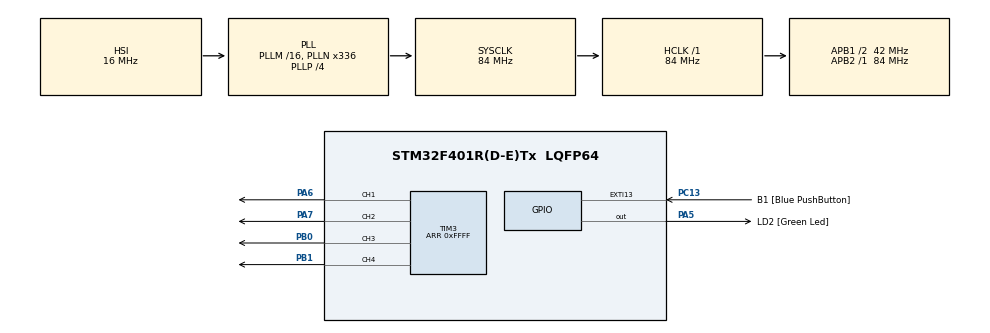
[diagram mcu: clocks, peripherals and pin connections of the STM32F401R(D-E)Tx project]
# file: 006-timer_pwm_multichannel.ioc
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Mcu.Family=STM32F4
Mcu.Name=STM32F401R(D-E)Tx
Mcu.Package=LQFP64
NVIC.PriorityGroup=NVIC_PRIORITYGROUP_0
NVIC.TIM3_IRQn=true\:0\:0\:false\:false\:true\:true\:true
PA13.GPIO_Label=TMS
PA13.Mode=Serial_Wire
PA13.Signal=SYS_JTMS-SWDIO
PA14.GPIO_Label=TCK
PA14.Mode=Serial_Wire
PA14.Signal=SYS_JTCK-SWCLK
PA2.GPIO_Label=USART_TX
PA2.GPIO_Mode=GPIO_MODE_AF_PP
PA2.GPIO_PuPd=GPIO_NOPULL
PA2.GPIO_Speed=GPIO_SPEED_FREQ_LOW
PA2.Signal=USART2_TX
PA3.GPIO_Label=USART_RX
PA3.GPIO_Mode=GPIO_MODE_AF_PP
PA3.GPIO_PuPd=GPIO_NOPULL
PA3.GPIO_Speed=GPIO_SPEED_FREQ_LOW
PA3.Signal=USART2_RX
PA5.GPIO_Label=LD2 [Green Led]
PA5.GPIO_Mode=GPIO_MODE_OUTPUT_PP
PA5.GPIO_PuPd=GPIO_NOPULL
PA5.GPIO_Speed=GPIO_SPEED_FREQ_LOW
PA5.Signal=GPIO_Output
PA6.Signal=S_TIM3_CH1
PA7.Signal=S_TIM3_CH2
PB0.Signal=S_TIM3_CH3
PB1.Signal=S_TIM3_CH4
PB3.GPIO_Label=SWO
PB3.Signal=SYS_JTDO-SWO
PC13-ANTI_TAMP.GPIO_Label=B1 [Blue PushButton]
PC13-ANTI_TAMP.GPIO_ModeDefaultEXTI=GPIO_MODE_IT_FALLING
PC13-ANTI_TAMP.GPIO_PuPd=GPIO_NOPULL
PC13-ANTI_TAMP.Signal=GPXTI13
PC14-OSC32_IN.Signal=RCC_OSC32_IN
PC15-OSC32_OUT.Signal=RCC_OSC32_OUT
PH0\ -\ OSC_IN.Mode=HSE-External-Clock-Source
PH0\ -\ OSC_IN.Signal=RCC_OSC_IN
PH1\ -\ OSC_OUT.Mode=HSE-External-Clock-Source
PH1\ -\ OSC_OUT.Signal=RCC_OSC_OUT
ProjectManager.HeapSize=0x200
ProjectManager.StackSize=0x400
ProjectManager.TargetToolchain=STM32CubeIDE
RCC.AHBFreq_Value=84000000
RCC.APB1CLKDivider=RCC_HCLK_DIV2
RCC.APB1Freq_Value=42000000
RCC.APB1TimFreq_Value=84000000
RCC.APB2Freq_Value=84000000
RCC.APB2TimFreq_Value=84000000
RCC.CortexFreq_Value=84000000
RCC.HCLKFreq_Value=84000000
RCC.HSE_VALUE=8000000
RCC.HSI_VALUE=16000000
RCC.LSE_VALUE=32768
RCC.PLLN=336
RCC.PLLP=RCC_PLLP_DIV4
RCC.PLLQ=7
RCC.SYSCLKFreq_VALUE=84000000
RCC.SYSCLKSource=RCC_SYSCLKSOURCE_PLLCLK
RCC.VCOOutputFreq_Value=336000000
SH.S_TIM3_CH1.0=TIM3_CH1,Output Compare1 CH1
SH.S_TIM3_CH2.0=TIM3_CH2,Output Compare2 CH2
SH.S_TIM3_CH3.0=TIM3_CH3,Output Compare3 CH3
SH.S_TIM3_CH4.0=TIM3_CH4,Output Compare4 CH4
TIM3.Channel-Output\ Compare1\ CH1=TIM_CHANNEL_1
TIM3.Channel-Output\ Compare2\ CH2=TIM_CHANNEL_2
TIM3.Channel-Output\ Compare3\ CH3=TIM_CHANNEL_3
TIM3.Channel-Output\ Compare4\ CH4=TIM_CHANNEL_4
TIM3.OC1Preload=DISABLE
TIM3.OC2Preload=DISABLE
TIM3.OC3Preload=DISABLE
TIM3.OC4Preload=DISABLE
TIM3.OCMode_1=TIM_OCMODE_TOGGLE
TIM3.OCMode_2=TIM_OCMODE_TOGGLE
TIM3.OCMode_3=TIM_OCMODE_TOGGLE
TIM3.OCMode_4=TIM_OCMODE_TOGGLE
TIM3.Period=0xFFFF
TIM3.Pulse-Output\ Compare1\ CH1=0xBFFF
TIM3.Pulse-Output\ Compare2\ CH2=0x8CCC
TIM3.Pulse-Output\ Compare3\ CH3=0x3FFF
TIM3.Pulse-Output\ Compare4\ CH4=0xE665
board=NUCLEO-F401RE

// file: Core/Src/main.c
/* USER CODE BEGIN Header */
/**
 ******************************************************************************
 * @file           : main.c
 * @brief          : Main program body
 ******************************************************************************
 * @attention
 *
 * <h2><center>&copy; Copyright (c) 2020 STMicroelectronics.
 * All rights reserved.</center></h2>
 *
 * This software component is licensed by ST under BSD 3-Clause license,
 * the "License"; You may not use this file except in compliance with the
 * License. You may obtain a copy of the License at:
 *                        opensource.org/licenses/BSD-3-Clause
 *
 ******************************************************************************
 */
/* USER CODE END Header */

#include "main.h"

/* USER CODE BEGIN PD */
#define CCR1_VAL 0xBFFF
#define CCR2_VAL 0x8CCC
#define CCR3_VAL 0x3FFF
#define CCR4_VAL 0x1999
#define ARR_VAL 0xFFFF

/* USER CODE END PD */

TIM_HandleTypeDef htim3;

/* USER CODE BEGIN PV */

volatile uint16_t CCR[4] = {CCR1_VAL, CCR2_VAL, CCR3_VAL, CCR4_VAL};

/* USER CODE END PV */

void SystemClock_Config(void);
static void MX_GPIO_Init(void);
static void MX_TIM3_Init(void);

int main(void)
{

  /* MCU Configuration--------------------------------------------------------*/

  /* Reset of all peripherals, Initializes the Flash interface and the Systick. */
  HAL_Init();

  /* Configure the system clock */
  SystemClock_Config();

  /* Initialize all configured peripherals */
  MX_GPIO_Init();
  MX_TIM3_Init();
  /* USER CODE BEGIN 2 */

	HAL_TIM_OC_Start_IT(&htim3, TIM_CHANNEL_1);
	HAL_TIM_OC_Start_IT(&htim3, TIM_CHANNEL_2);
	HAL_TIM_OC_Start_IT(&htim3, TIM_CHANNEL_3);
	HAL_TIM_OC_Start_IT(&htim3, TIM_CHANNEL_4);

	uint32_t filtro_btn = 0;
	uint8_t status_prog = 0;

  /* USER CODE END 2 */

  /* Infinite loop */
	while (1) {
		if(!HAL_GPIO_ReadPin(B1_GPIO_Port, B1_Pin) && (HAL_GetTick() - filtro_btn) >= 200){
			filtro_btn = HAL_GetTick();
			status_prog++;
			if(status_prog == 4) status_prog = 0;
		}

		switch(status_prog){
		case 0:
			// Duty Cycle Originais
			CCR[0] = CCR1_VAL;
			CCR[1] = CCR2_VAL;
			CCR[2] = CCR3_VAL;
			CCR[3] = CCR4_VAL;
			break;
		case 1:
			// Shift nos Dutys
			CCR[0] = CCR4_VAL;
			CCR[1] = CCR1_VAL;
			CCR[2] = CCR2_VAL;
			CCR[3] = CCR3_VAL;
			break;

		case 2:
			CCR[0] = CCR3_VAL;
			CCR[1] = CCR4_VAL;
			CCR[2] = CCR1_VAL;
			CCR[3] = CCR2_VAL;
			break;

		case 3:
			CCR[0] = CCR2_VAL;
			CCR[1] = CCR3_VAL;
			CCR[2] = CCR4_VAL;
			CCR[3] = CCR1_VAL;
			break;
		default:
			break;
		}

	}
}

void SystemClock_Config(void)
{
  RCC_OscInitTypeDef RCC_OscInitStruct = {0};
  RCC_ClkInitTypeDef RCC_ClkInitStruct = {0};

  /** Configure the main internal regulator output voltage
  */
  __HAL_RCC_PWR_CLK_ENABLE();
  __HAL_PWR_VOLTAGESCALING_CONFIG(PWR_REGULATOR_VOLTAGE_SCALE2);
  /** Initializes the CPU, AHB and APB busses clocks
  */
  RCC_OscInitStruct.OscillatorType = RCC_OSCILLATORTYPE_HSI;
  RCC_OscInitStruct.HSIState = RCC_HSI_ON;
  RCC_OscInitStruct.HSICalibrationValue = RCC_HSICALIBRATION_DEFAULT;
  RCC_OscInitStruct.PLL.PLLState = RCC_PLL_ON;
  RCC_OscInitStruct.PLL.PLLSource = RCC_PLLSOURCE_HSI;
  RCC_OscInitStruct.PLL.PLLM = 16;
  RCC_OscInitStruct.PLL.PLLN = 336;
  RCC_OscInitStruct.PLL.PLLP = RCC_PLLP_DIV4;
  RCC_OscInitStruct.PLL.PLLQ = 7;
  if (HAL_RCC_OscConfig(&RCC_OscInitStruct) != HAL_OK)
  {
    Error_Handler();
  }
  /** Initializes the CPU, AHB and APB busses clocks
  */
  RCC_ClkInitStruct.ClockType = RCC_CLOCKTYPE_HCLK|RCC_CLOCKTYPE_SYSCLK
                              |RCC_CLOCKTYPE_PCLK1|RCC_CLOCKTYPE_PCLK2;
  RCC_ClkInitStruct.SYSCLKSource = RCC_SYSCLKSOURCE_PLLCLK;
  RCC_ClkInitStruct.AHBCLKDivider = RCC_SYSCLK_DIV1;
  RCC_ClkInitStruct.APB1CLKDivider = RCC_HCLK_DIV2;
  RCC_ClkInitStruct.APB2CLKDivider = RCC_HCLK_DIV1;

  if (HAL_RCC_ClockConfig(&RCC_ClkInitStruct, FLASH_LATENCY_2) != HAL_OK)
  {
    Error_Handler();
  }
}

static void MX_TIM3_Init(void)
{

  TIM_MasterConfigTypeDef sMasterConfig = {0};
  TIM_OC_InitTypeDef sConfigOC = {0};

  htim3.Instance = TIM3;
  htim3.Init.Prescaler = 0;
  htim3.Init.CounterMode = TIM_COUNTERMODE_UP;
  htim3.Init.Period = 0xFFFF;
  htim3.Init.ClockDivision = TIM_CLOCKDIVISION_DIV1;
  htim3.Init.AutoReloadPreload = TIM_AUTORELOAD_PRELOAD_DISABLE;
  if (HAL_TIM_OC_Init(&htim3) != HAL_OK)
  {
    Error_Handler();
  }
  sMasterConfig.MasterOutputTrigger = TIM_TRGO_RESET;
  sMasterConfig.MasterSlaveMode = TIM_MASTERSLAVEMODE_DISABLE;
  if (HAL_TIMEx_MasterConfigSynchronization(&htim3, &sMasterConfig) != HAL_OK)
  {
    Error_Handler();
  }
  sConfigOC.OCMode = TIM_OCMODE_TOGGLE;
  sConfigOC.Pulse = CCR1_VAL;
  sConfigOC.OCPolarity = TIM_OCPOLARITY_HIGH;
  sConfigOC.OCFastMode = TIM_OCFAST_DISABLE;
  if (HAL_TIM_OC_ConfigChannel(&htim3, &sConfigOC, TIM_CHANNEL_1) != HAL_OK)
  {
    Error_Handler();
  }
  sConfigOC.Pulse = CCR2_VAL;
  if (HAL_TIM_OC_ConfigChannel(&htim3, &sConfigOC, TIM_CHANNEL_2) != HAL_OK)
  {
    Error_Handler();
  }
  sConfigOC.Pulse = CCR3_VAL;
  if (HAL_TIM_OC_ConfigChannel(&htim3, &sConfigOC, TIM_CHANNEL_3) != HAL_OK)
  {
    Error_Handler();
  }
  sConfigOC.Pulse = CCR4_VAL;
  if (HAL_TIM_OC_ConfigChannel(&htim3, &sConfigOC, TIM_CHANNEL_4) != HAL_OK)
  {
    Error_Handler();
  }
  HAL_TIM_MspPostInit(&htim3);

}

static void MX_GPIO_Init(void)
{
  GPIO_InitTypeDef GPIO_InitStruct = {0};

  /* GPIO Ports Clock Enable */
  __HAL_RCC_GPIOC_CLK_ENABLE();
  __HAL_RCC_GPIOH_CLK_ENABLE();
  __HAL_RCC_GPIOA_CLK_ENABLE();
  __HAL_RCC_GPIOB_CLK_ENABLE();

  /*Configure GPIO pin Output Level */
  HAL_GPIO_WritePin(LD2_GPIO_Port, LD2_Pin, GPIO_PIN_RESET);

  /*Configure GPIO pin : B1_Pin */
  GPIO_InitStruct.Pin = B1_Pin;
  GPIO_InitStruct.Mode = GPIO_MODE_IT_FALLING;
  GPIO_InitStruct.Pull = GPIO_NOPULL;
  HAL_GPIO_Init(B1_GPIO_Port, &GPIO_InitStruct);

  /*Configure GPIO pins : USART_TX_Pin USART_RX_Pin */
  GPIO_InitStruct.Pin = USART_TX_Pin|USART_RX_Pin;
  GPIO_InitStruct.Mode = GPIO_MODE_AF_PP;
  GPIO_InitStruct.Pull = GPIO_NOPULL;
  GPIO_InitStruct.Speed = GPIO_SPEED_FREQ_LOW;
  GPIO_InitStruct.Alternate = GPIO_AF7_USART2;
  HAL_GPIO_Init(GPIOA, &GPIO_InitStruct);

  /*Configure GPIO pin : LD2_Pin */
  GPIO_InitStruct.Pin = LD2_Pin;
  GPIO_InitStruct.Mode = GPIO_MODE_OUTPUT_PP;
  GPIO_InitStruct.Pull = GPIO_NOPULL;
  GPIO_InitStruct.Speed = GPIO_SPEED_FREQ_LOW;
  HAL_GPIO_Init(LD2_GPIO_Port, &GPIO_InitStruct);

}

/* USER CODE BEGIN 4 */

void HAL_TIM_OC_DelayElapsedCallback(TIM_HandleTypeDef *htim) {

	// Atualiza o CCR do canal referente
	switch (htim->Channel) {
	case HAL_TIM_ACTIVE_CHANNEL_1:
		if (__HAL_TIM_GET_COMPARE(htim, TIM_CHANNEL_1) == ARR_VAL) {
			__HAL_TIM_SET_COMPARE(htim, TIM_CHANNEL_1, CCR[0]);
		} else {
			__HAL_TIM_SET_COMPARE(htim, TIM_CHANNEL_1, ARR_VAL);
		}
		break;
	case HAL_TIM_ACTIVE_CHANNEL_2:
		if (__HAL_TIM_GET_COMPARE(htim, TIM_CHANNEL_2) == ARR_VAL) {
			__HAL_TIM_SET_COMPARE(htim, TIM_CHANNEL_2, CCR[1]);
		} else {
			__HAL_TIM_SET_COMPARE(htim, TIM_CHANNEL_2, ARR_VAL);
		}
		break;
	case HAL_TIM_ACTIVE_CHANNEL_3:
		if (__HAL_TIM_GET_COMPARE(htim, TIM_CHANNEL_3) == ARR_VAL) {
			__HAL_TIM_SET_COMPARE(htim, TIM_CHANNEL_3, CCR[2]);
		} else {
			__HAL_TIM_SET_COMPARE(htim, TIM_CHANNEL_3, ARR_VAL);
		}
		break;
	case HAL_TIM_ACTIVE_CHANNEL_4:
		if (__HAL_TIM_GET_COMPARE(htim, TIM_CHANNEL_4) == ARR_VAL) {
			__HAL_TIM_SET_COMPARE(htim, TIM_CHANNEL_4, CCR[3]);
		} else {
			__HAL_TIM_SET_COMPARE(htim, TIM_CHANNEL_4, ARR_VAL);
		}
		break;
	default:
		break;
	}

}

/* USER CODE END 4 */

void Error_Handler(void)
{
}

/************************ (C) COPYRIGHT STMicroelectronics *****END OF FILE****/
